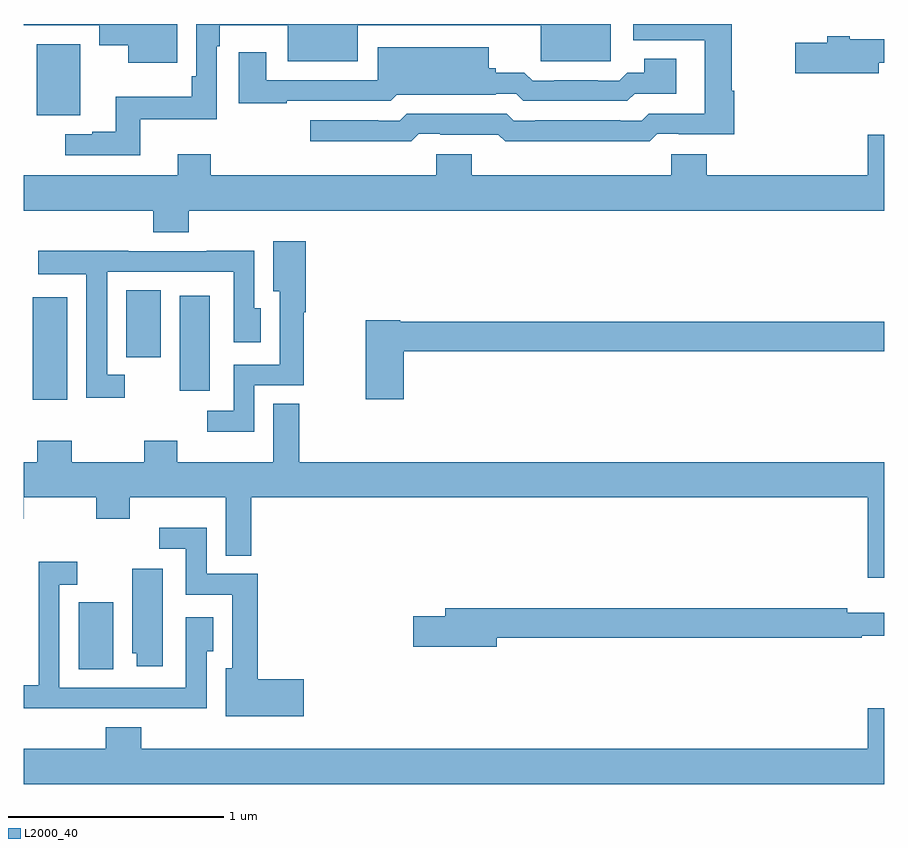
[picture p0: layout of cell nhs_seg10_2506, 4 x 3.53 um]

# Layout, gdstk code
import gdstk
lib = gdstk.Library(unit=1e-6, precision=1e-09)
def R(c, l, rs):  # rectangles x0, y0, x1, y1
    for r in rs: c.add(gdstk.rectangle(r[:2], r[2:], *l))
def P(c, l, *ps):  # polygons
    for p in ps: c.add(gdstk.Polygon(p, *l))
L2000_40 = (2000, 40)

nhs_seg10_2506 = lib.new_cell('nhs_seg10_2506')
R(nhs_seg10_2506, L2000_40, [(245.255,1315.501,245.416,1315.812), (245.042,1316.754,245.203,1317.229), (245.726,1316.796,245.866,1317.238), (245.477,1316.952,245.638,1317.263), (245.06,1318.076,245.263,1318.405)])
P(nhs_seg10_2506, L2000_40, [(246.837,1317.99),(246.937,1317.99),(246.937,1317.986),(247.205,1317.986),(247.238,1317.954),(247.436,1317.954),(247.436,1317.956),(247.714,1317.956),(247.714,1317.954),(247.909,1317.954),(247.945,1317.99),(248.044,1317.99),(248.044,1317.987),(248.303,1317.987),(248.303,1318.19),(248.29,1318.19),(248.29,1318.5),(247.833,1318.5),(247.833,1318.424),(248.165,1318.424),(248.165,1318.083),(247.905,1318.083),(247.872,1318.05),(247.772,1318.05),(247.772,1318.053),(247.378,1318.053),(247.378,1318.05),(247.278,1318.05),(247.245,1318.083),(246.78,1318.083),(246.747,1318.05),(246.647,1318.05),(246.647,1318.053),(246.333,1318.053),(246.333,1317.956),(246.576,1317.956),(246.576,1317.954),(246.801,1317.954)],
  [(245.713,1318.5),(245,1318.5),(245,1318.494),(245.352,1318.494),(245.352,1318.402),(245.486,1318.402),(245.486,1318.319),(245.713,1318.319)],
  [(245.542,1318.058),(245.898,1318.058),(245.898,1318.397),(245.911,1318.397),(245.911,1318.494),(246.227,1318.494),(246.227,1318.328),(246.553,1318.328),(246.553,1318.494),(247.403,1318.494),(247.403,1318.328),(247.729,1318.328),(247.729,1318.5),(245.802,1318.5),(245.802,1318.258),(245.782,1318.258),(245.782,1318.162),(245.429,1318.162),(245.429,1318),(245.319,1318),(245.319,1317.987),(245.193,1317.987),(245.193,1317.891),(245.542,1317.891)],
  [(248.974,1318.32),(249,1318.32),(249,1318.429),(248.839,1318.429),(248.839,1318.442),(248.735,1318.442),(248.735,1318.412),(248.586,1318.412),(248.586,1318.27),(248.974,1318.27)],
  [(246.223,1318.143),(246.706,1318.143),(246.735,1318.172),(247.193,1318.172),(247.193,1318.176),(247.289,1318.176),(247.322,1318.143),(247.806,1318.143),(247.839,1318.176),(248.032,1318.176),(248.032,1318.339),(247.883,1318.339),(247.883,1318.273),(247.804,1318.273),(247.767,1318.236),(247.667,1318.236),(247.667,1318.239),(247.465,1318.239),(247.465,1318.236),(247.365,1318.236),(247.327,1318.274),(247.194,1318.274),(247.194,1318.294),(247.162,1318.294),(247.162,1318.393),(246.645,1318.393),(246.645,1318.239),(246.127,1318.239),(246.127,1318.369),(245.999,1318.369),(245.999,1318.131),(246.223,1318.131)],
  [(245.768,1317.632),(249,1317.632),(249,1317.985),(248.924,1317.985),(248.924,1317.796),(248.174,1317.796),(248.174,1317.895),(248.009,1317.895),(248.009,1317.796),(247.082,1317.796),(247.082,1317.895),(246.917,1317.895),(246.917,1317.796),(245.87,1317.796),(245.87,1317.895),(245.717,1317.895),(245.717,1317.796),(245,1317.796),(245,1317.632),(245.603,1317.632),(245.603,1317.533),(245.768,1317.533)],
  [(246.072,1316.82),(246.302,1316.82),(246.302,1317.161),(246.31,1317.161),(246.31,1317.49),(246.161,1317.49),(246.161,1317.257),(246.191,1317.257),(246.191,1316.916),(245.976,1316.916),(245.976,1316.703),(245.853,1316.703),(245.853,1316.606),(246.072,1316.606)],
  [(245.47,1316.871),(245.388,1316.871),(245.388,1317.348),(245.976,1317.348),(245.976,1317.021),(246.103,1317.021),(246.103,1317.18),(246.072,1317.18),(246.072,1317.446),(245.851,1317.446),(245.851,1317.444),(245.485,1317.444),(245.485,1317.446),(245.067,1317.446),(245.067,1317.338),(245.292,1317.338),(245.292,1316.763),(245.47,1316.763)],
  [(246.767,1316.98),(249,1316.98),(249,1317.116),(246.75,1317.116),(246.75,1317.124),(246.589,1317.124),(246.589,1316.757),(246.767,1316.757)],
  [(249,1316.464),(246.28,1316.464),(246.28,1316.735),(246.161,1316.735),(246.161,1316.464),(245.715,1316.464),(245.715,1316.563),(245.56,1316.563),(245.56,1316.464),(245.223,1316.464),(245.223,1316.563),(245.063,1316.563),(245.063,1316.464),(245,1316.464),(245,1316.201),(245.001,1316.201),(245.001,1316.3),(245.338,1316.3),(245.338,1316.201),(245.493,1316.201),(245.493,1316.3),(245.939,1316.3),(245.939,1316.029),(246.058,1316.029),(246.058,1316.3),(248.924,1316.3),(248.924,1315.926),(249,1315.926)],
  [(246.301,1315.454),(246.088,1315.454),(246.088,1315.944),(245.85,1315.944),(245.85,1316.158),(245.631,1316.158),(245.631,1316.061),(245.754,1316.061),(245.754,1315.848),(245.969,1315.848),(245.969,1315.507),(245.939,1315.507),(245.939,1315.283),(246.301,1315.283)],
  [(245.263,1315.32),(245.629,1315.32),(245.629,1315.319),(245.85,1315.319),(245.85,1315.585),(245.881,1315.585),(245.881,1315.744),(245.754,1315.744),(245.754,1315.416),(245.166,1315.416),(245.166,1315.893),(245.248,1315.893),(245.248,1316.002),(245.07,1316.002),(245.07,1315.426),(245,1315.426),(245,1315.319),(245.263,1315.319)],
  [(245.647,1315.969),(245.504,1315.969),(245.504,1315.575),(245.525,1315.575),(245.525,1315.515),(245.647,1315.515)],
  [(247.198,1315.648),(248.894,1315.648),(248.894,1315.656),(249,1315.656),(249,1315.765),(248.828,1315.765),(248.828,1315.784),(246.959,1315.784),(246.959,1315.748),(246.81,1315.748),(246.81,1315.606),(247.198,1315.606)],
  [(249,1315.321),(248.924,1315.321),(248.924,1315.132),(245.546,1315.132),(245.546,1315.231),(245.381,1315.231),(245.381,1315.132),(245,1315.132),(245,1314.968),(249,1314.968)])

lib.write_gds('nhs_seg10_2506.gds')
